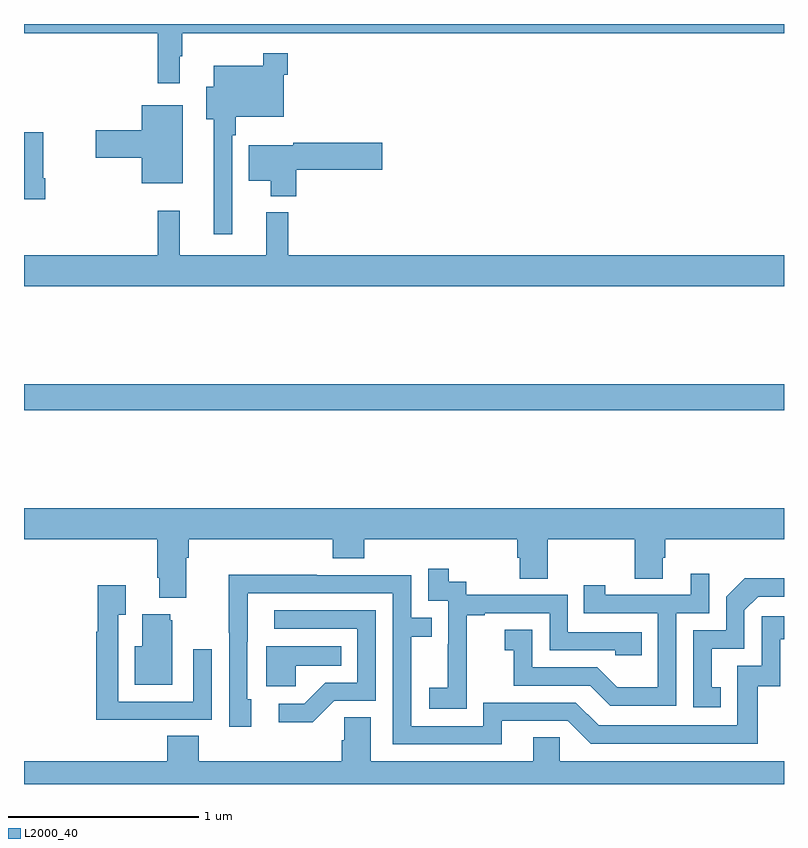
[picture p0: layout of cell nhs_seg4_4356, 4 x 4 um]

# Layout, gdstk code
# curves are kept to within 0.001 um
import gdstk
lib = gdstk.Library(unit=1e-6, precision=1e-09)
def R(c, l, rs):  # rectangles x0, y0, x1, y1
    for r in rs: c.add(gdstk.rectangle(r[:2], r[2:], *l))
def P(c, l, *ps):  # polygons
    for p in ps: c.add(gdstk.Polygon(p, *l))
L2000_40 = (2000, 40)

nhs_seg4_4356 = lib.new_cell('nhs_seg4_4356')
R(nhs_seg4_4356, L2000_40, [(345,762.868,349,763.004)])
P(nhs_seg4_4356, L2000_40, [(345.82,764.729),(345.832,764.729),(345.832,764.852),(349,764.852),(349,764.9),(345,764.9),(345,764.852),(345.703,764.852),(345.703,764.589),(345.82,764.589)],
  [(346.095,764.315),(346.115,764.315),(346.115,764.411),(346.368,764.411),(346.368,764.633),(346.388,764.633),(346.388,764.746),(346.26,764.746),(346.26,764.68),(345.998,764.68),(345.998,764.569),(345.959,764.569),(345.959,764.399),(345.998,764.399),(345.998,763.794),(346.095,763.794)],
  [(345.835,764.473),(345.62,764.473),(345.62,764.342),(345.378,764.342),(345.378,764.195),(345.62,764.195),(345.62,764.063),(345.835,764.063)],
  [(345.113,764.089),(345.1,764.089),(345.1,764.329),(345,764.329),(345,763.977),(345.113,763.977)],
  [(346.433,764.134),(346.885,764.134),(346.885,764.276),(346.416,764.276),(346.416,764.263),(346.184,764.263),(346.184,764.075),(346.298,764.075),(346.298,763.994),(346.433,763.994)],
  [(349,763.684),(346.391,763.684),(346.391,763.909),(346.274,763.909),(346.274,763.684),(345.821,763.684),(345.821,763.918),(345.703,763.918),(345.703,763.684),(345,763.684),(345,763.52),(349,763.52)],
  [(345.853,762.092),(345.866,762.092),(345.866,762.188),(346.625,762.188),(346.625,762.089),(346.79,762.089),(346.79,762.188),(347.597,762.188),(347.597,762.09),(347.609,762.09),(347.609,761.98),(347.757,761.98),(347.757,762.188),(348.214,762.188),(348.214,761.98),(348.361,761.98),(348.361,762.09),(348.374,762.09),(348.374,762.188),(349,762.188),(349,762.352),(345,762.352),(345,762.188),(345.701,762.188),(345.701,761.986),(345.713,761.986),(345.713,761.879),(345.853,761.879)],
  [(347.331,761.503),(347.33,761.503),(347.33,761.787),(347.425,761.787),(347.425,761.799),(347.766,761.799),(347.766,761.604),(348.111,761.604),(348.111,761.577),(348.251,761.577),(348.251,761.7),(347.862,761.7),(347.862,761.895),(347.328,761.895),(347.328,761.964),(347.236,761.964),(347.236,762.034),(347.127,762.034),(347.127,761.865),(347.232,761.865),(347.232,761.636),(347.231,761.636),(347.231,761.407),(347.133,761.407),(347.133,761.297),(347.331,761.297)],
  [(348.432,761.799),(348.606,761.799),(348.606,762.007),(348.509,762.007),(348.509,761.895),(348.058,761.895),(348.058,761.947),(347.947,761.947),(347.947,761.799),(348.336,761.799),(348.336,761.41),(348.122,761.41),(348.018,761.514),(347.676,761.514),(347.676,761.713),(347.529,761.713),(347.529,761.603),(347.578,761.603),(347.578,761.418),(347.981,761.418),(348.086,761.313),(348.432,761.313)],
  [(347.515,761.232),(347.862,761.232),(347.982,761.112),(348.862,761.112),(348.862,761.415),(348.98,761.415),(348.98,761.661),(349,761.661),(349,761.782),(348.882,761.782),(348.882,761.523),(348.753,761.523),(348.753,761.208),(348.024,761.208),(347.904,761.328),(347.418,761.328),(347.418,761.205),(347.037,761.205),(347.037,761.674),(347.147,761.674),(347.147,761.775),(347.037,761.775),(347.037,762),(346.541,762),(346.541,762.002),(346.078,762.002),(346.078,761.695),(346.08,761.695),(346.08,761.202),(346.195,761.202),(346.195,761.346),(346.176,761.346),(346.177,761.904),(346.941,761.904),(346.941,761.109),(347.515,761.109)],
  [(348.668,761.409),(348.619,761.409),(348.619,761.613),(348.792,761.613),(348.792,761.814),(348.864,761.886),(349,761.886),(349,761.984),(348.794,761.984),(348.696,761.886),(348.696,761.709),(348.522,761.709),(348.522,761.304),(348.668,761.304)],
  [(345.671,761.238),(345.987,761.238),(345.987,761.608),(345.891,761.608),(345.891,761.334),(345.495,761.334),(345.495,761.791),(345.535,761.791),(345.535,761.947),(345.387,761.947),(345.387,761.702),(345.379,761.702),(345.379,761.237),(345.671,761.237)],
  [(346.632,761.337),(346.851,761.337),(346.851,761.814),(346.317,761.814),(346.317,761.718),(346.755,761.718),(346.755,761.433),(346.586,761.433),(346.475,761.322),(346.341,761.322),(346.341,761.225),(346.519,761.225)],
  [(345.781,761.763),(345.77,761.763),(345.77,761.794),(345.623,761.794),(345.623,761.626),(345.584,761.626),(345.584,761.423),(345.781,761.423)],
  [(346.431,761.522),(346.67,761.522),(346.67,761.626),(346.274,761.626),(346.274,761.414),(346.431,761.414)],
  [(349,761.02),(347.82,761.02),(347.82,761.147),(347.681,761.147),(347.681,761.02),(346.825,761.02),(346.825,761.252),(346.686,761.252),(346.686,761.129),(346.673,761.129),(346.673,761.02),(345.92,761.02),(345.92,761.153),(345.755,761.153),(345.755,761.02),(345,761.02),(345,760.9),(349,760.9)])

lib.write_gds('nhs_seg4_4356.gds')
